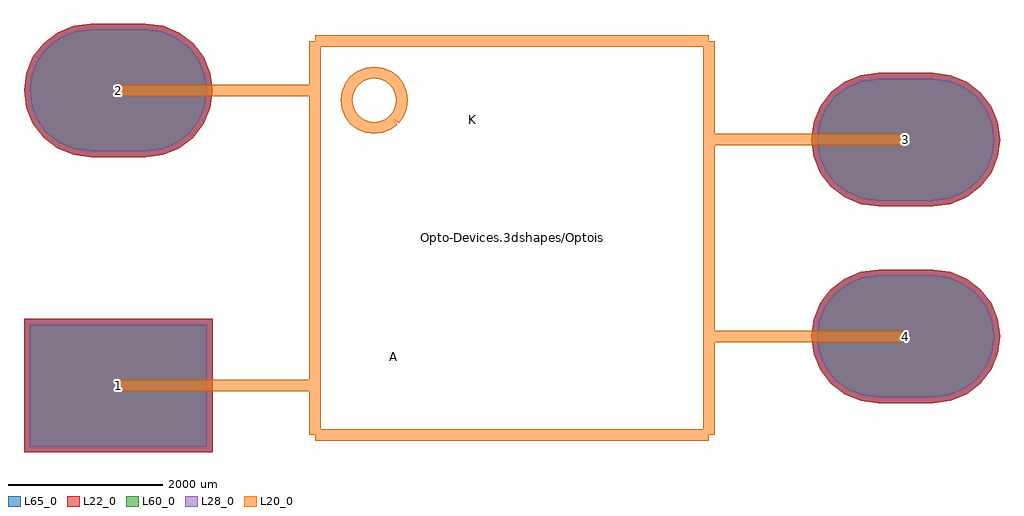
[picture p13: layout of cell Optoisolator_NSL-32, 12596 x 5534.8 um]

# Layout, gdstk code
import gdstk
lib = gdstk.Library(unit=1e-6, precision=1e-09)
def R(c, l, rs):  # rectangles x0, y0, x1, y1
    for r in rs: c.add(gdstk.rectangle(r[:2], r[2:], *l))
def P(c, l, *ps):  # polygons
    for p in ps: c.add(gdstk.Polygon(p, *l))
L20_0 = (20, 0)
L22_0 = (22, 0)
L28_0 = (28, 0)
L60_0 = (60, 0)
L65_0 = (65, 0)

optoisolator_nsl_32 = lib.new_cell('Optoisolator_NSL-32')
R(optoisolator_nsl_32, L22_0, [(-6298,-2767.4,-3862,-1042.6)])
P(optoisolator_nsl_32, L22_0, [(4724.4,-2132.4),(5435.6,-2132.4),(5658.806,-2103.014),(5866.8,-2016.86),(6045.409,-1879.809),(6182.46,-1701.2),(6268.614,-1493.206),(6298,-1270),(6268.614,-1046.794),(6182.46,-838.8),(6045.409,-660.191),(5866.8,-523.14),(5658.806,-436.986),(5435.6,-407.6),(4724.4,-407.6),(4501.194,-436.986),(4293.2,-523.14),(4114.591,-660.191),(3977.54,-838.8),(3891.386,-1046.794),(3862,-1270),(3891.386,-1493.206),(3977.54,-1701.2),(4114.591,-1879.809),(4293.2,-2016.86),(4501.194,-2103.014)],
  [(4724.4,407.6),(5435.6,407.6),(5658.806,436.986),(5866.8,523.14),(6045.409,660.191),(6182.46,838.8),(6268.614,1046.794),(6298,1270),(6268.614,1493.206),(6182.46,1701.2),(6045.409,1879.809),(5866.8,2016.86),(5658.806,2103.014),(5435.6,2132.4),(4724.4,2132.4),(4501.194,2103.014),(4293.2,2016.86),(4114.591,1879.809),(3977.54,1701.2),(3891.386,1493.206),(3862,1270),(3891.386,1046.794),(3977.54,838.8),(4114.591,660.191),(4293.2,523.14),(4501.194,436.986)],
  [(-5435.6,1042.6),(-4724.4,1042.6),(-4501.194,1071.986),(-4293.2,1158.14),(-4114.591,1295.191),(-3977.54,1473.8),(-3891.386,1681.794),(-3862,1905),(-3891.386,2128.206),(-3977.54,2336.2),(-4114.591,2514.809),(-4293.2,2651.86),(-4501.194,2738.014),(-4724.4,2767.4),(-5435.6,2767.4),(-5658.806,2738.014),(-5866.8,2651.86),(-6045.409,2514.809),(-6182.46,2336.2),(-6268.614,2128.206),(-6298,1905),(-6268.614,1681.794),(-6182.46,1473.8),(-6045.409,1295.191),(-5866.8,1158.14),(-5658.806,1071.986)])
R(optoisolator_nsl_32, L28_0, [(-6223,-2692.4,-3937,-1117.6)])
P(optoisolator_nsl_32, L28_0, [(4724.4,-2057.4),(5435.6,-2057.4),(5639.394,-2030.57),(5829.3,-1951.908),(5992.376,-1826.776),(6117.508,-1663.7),(6196.17,-1473.794),(6223,-1270),(6196.17,-1066.206),(6117.508,-876.3),(5992.376,-713.224),(5829.3,-588.092),(5639.394,-509.43),(5435.6,-482.6),(4724.4,-482.6),(4520.606,-509.43),(4330.7,-588.092),(4167.624,-713.224),(4042.492,-876.3),(3963.83,-1066.206),(3937,-1270),(3963.83,-1473.794),(4042.492,-1663.7),(4167.624,-1826.776),(4330.7,-1951.908),(4520.606,-2030.57)],
  [(4724.4,482.6),(5435.6,482.6),(5639.394,509.43),(5829.3,588.092),(5992.376,713.224),(6117.508,876.3),(6196.17,1066.206),(6223,1270),(6196.17,1473.794),(6117.508,1663.7),(5992.376,1826.776),(5829.3,1951.908),(5639.394,2030.57),(5435.6,2057.4),(4724.4,2057.4),(4520.606,2030.57),(4330.7,1951.908),(4167.624,1826.776),(4042.492,1663.7),(3963.83,1473.794),(3937,1270),(3963.83,1066.206),(4042.492,876.3),(4167.624,713.224),(4330.7,588.092),(4520.606,509.43)],
  [(-5435.6,1117.6),(-4724.4,1117.6),(-4520.606,1144.43),(-4330.7,1223.092),(-4167.624,1348.224),(-4042.492,1511.3),(-3963.83,1701.206),(-3937,1905),(-3963.83,2108.794),(-4042.492,2298.7),(-4167.624,2461.776),(-4330.7,2586.908),(-4520.606,2665.57),(-4724.4,2692.4),(-5435.6,2692.4),(-5639.394,2665.57),(-5829.3,2586.908),(-5992.376,2461.776),(-6117.508,2298.7),(-6196.17,2108.794),(-6223,1905),(-6196.17,1701.206),(-6117.508,1511.3),(-5992.376,1348.224),(-5829.3,1223.092),(-5639.394,1144.43)])
R(optoisolator_nsl_32, L60_0, [(-6223,-2692.4,-3937,-1117.6)])
P(optoisolator_nsl_32, L60_0, [(4724.4,-2057.4),(5435.6,-2057.4),(5639.394,-2030.57),(5829.3,-1951.908),(5992.376,-1826.776),(6117.508,-1663.7),(6196.17,-1473.794),(6223,-1270),(6196.17,-1066.206),(6117.508,-876.3),(5992.376,-713.224),(5829.3,-588.092),(5639.394,-509.43),(5435.6,-482.6),(4724.4,-482.6),(4520.606,-509.43),(4330.7,-588.092),(4167.624,-713.224),(4042.492,-876.3),(3963.83,-1066.206),(3937,-1270),(3963.83,-1473.794),(4042.492,-1663.7),(4167.624,-1826.776),(4330.7,-1951.908),(4520.606,-2030.57)],
  [(4724.4,482.6),(5435.6,482.6),(5639.394,509.43),(5829.3,588.092),(5992.376,713.224),(6117.508,876.3),(6196.17,1066.206),(6223,1270),(6196.17,1473.794),(6117.508,1663.7),(5992.376,1826.776),(5829.3,1951.908),(5639.394,2030.57),(5435.6,2057.4),(4724.4,2057.4),(4520.606,2030.57),(4330.7,1951.908),(4167.624,1826.776),(4042.492,1663.7),(3963.83,1473.794),(3937,1270),(3963.83,1066.206),(4042.492,876.3),(4167.624,713.224),(4330.7,588.092),(4520.606,509.43)],
  [(-5435.6,1117.6),(-4724.4,1117.6),(-4520.606,1144.43),(-4330.7,1223.092),(-4167.624,1348.224),(-4042.492,1511.3),(-3963.83,1701.206),(-3937,1905),(-3963.83,2108.794),(-4042.492,2298.7),(-4167.624,2461.776),(-4330.7,2586.908),(-4520.606,2665.57),(-4724.4,2692.4),(-5435.6,2692.4),(-5639.394,2665.57),(-5829.3,2586.908),(-5992.376,2461.776),(-6117.508,2298.7),(-6196.17,2108.794),(-6223,1905),(-6196.17,1701.206),(-6117.508,1511.3),(-5992.376,1348.224),(-5829.3,1223.092),(-5639.394,1144.43)])
R(optoisolator_nsl_32, L65_0, [(-6298,-2767.4,-3862,-1042.6)])
P(optoisolator_nsl_32, L65_0, [(4724.4,-2132.4),(5435.6,-2132.4),(5658.806,-2103.014),(5866.8,-2016.86),(6045.409,-1879.809),(6182.46,-1701.2),(6268.614,-1493.206),(6298,-1270),(6268.614,-1046.794),(6182.46,-838.8),(6045.409,-660.191),(5866.8,-523.14),(5658.806,-436.986),(5435.6,-407.6),(4724.4,-407.6),(4501.194,-436.986),(4293.2,-523.14),(4114.591,-660.191),(3977.54,-838.8),(3891.386,-1046.794),(3862,-1270),(3891.386,-1493.206),(3977.54,-1701.2),(4114.591,-1879.809),(4293.2,-2016.86),(4501.194,-2103.014)],
  [(4724.4,407.6),(5435.6,407.6),(5658.806,436.986),(5866.8,523.14),(6045.409,660.191),(6182.46,838.8),(6268.614,1046.794),(6298,1270),(6268.614,1493.206),(6182.46,1701.2),(6045.409,1879.809),(5866.8,2016.86),(5658.806,2103.014),(5435.6,2132.4),(4724.4,2132.4),(4501.194,2103.014),(4293.2,2016.86),(4114.591,1879.809),(3977.54,1701.2),(3891.386,1493.206),(3862,1270),(3891.386,1046.794),(3977.54,838.8),(4114.591,660.191),(4293.2,523.14),(4501.194,436.986)],
  [(-5435.6,1042.6),(-4724.4,1042.6),(-4501.194,1071.986),(-4293.2,1158.14),(-4114.591,1295.191),(-3977.54,1473.8),(-3891.386,1681.794),(-3862,1905),(-3891.386,2128.206),(-3977.54,2336.2),(-4114.591,2514.809),(-4293.2,2651.86),(-4501.194,2738.014),(-4724.4,2767.4),(-5435.6,2767.4),(-5658.806,2738.014),(-5866.8,2651.86),(-6045.409,2514.809),(-6182.46,2336.2),(-6268.614,2128.206),(-6298,1905),(-6268.614,1681.794),(-6182.46,1473.8),(-6045.409,1295.191),(-5866.8,1158.14),(-5658.806,1071.986)])
optoisolator_nsl_32.add(gdstk.FlexPath([(-2540,-2540),(-2540,2540)], 149.998, ends="flush", simple_path=True, layer=20, datatype=0))  # L20_0
optoisolator_nsl_32.add(gdstk.FlexPath([(2540,-2540),(-2540,-2540)], 149.998, ends="flush", simple_path=True, layer=20, datatype=0))  # L20_0
optoisolator_nsl_32.add(gdstk.FlexPath([(2540,2540),(2540,-2540)], 149.998, ends="flush", simple_path=True, layer=20, datatype=0))  # L20_0
optoisolator_nsl_32.add(gdstk.FlexPath([(-2540,2540),(2540,2540)], 149.998, ends="flush", simple_path=True, layer=20, datatype=0))  # L20_0
optoisolator_nsl_32.add(gdstk.FlexPath([(-5080,1905),(-2540,1905)], 149.998, ends="flush", simple_path=True, layer=20, datatype=0))  # L20_0
optoisolator_nsl_32.add(gdstk.FlexPath([(-5080,-1905),(-2540,-1905)], 149.998, ends="flush", simple_path=True, layer=20, datatype=0))  # L20_0
optoisolator_nsl_32.add(gdstk.FlexPath([(2540,1270),(5080,1270)], 149.998, ends="flush", simple_path=True, layer=20, datatype=0))  # L20_0
optoisolator_nsl_32.add(gdstk.FlexPath([(2540,-1270),(5080,-1270)], 149.998, ends="flush", simple_path=True, layer=20, datatype=0))  # L20_0
optoisolator_nsl_32.add(gdstk.FlexPath([(-1524,1524),(-1466.915,1598.395),(-1431.03,1685.03),(-1418.79,1778),(-1431.03,1870.97),(-1466.915,1957.605),(-1524,2032),(-1598.395,2089.085),(-1685.03,2124.97),(-1778,2137.21),(-1870.97,2124.97),(-1957.605,2089.085),(-2032,2032),(-2089.085,1957.605),(-2124.97,1870.97),(-2137.21,1778),(-2124.97,1685.03),(-2089.085,1598.395),(-2032,1524),(-1957.605,1466.915),(-1870.97,1431.03),(-1778,1418.79),(-1685.03,1431.03),(-1598.395,1466.915),(-1524,1524)], 149.998, ends="flush", simple_path=True, layer=20, datatype=0))  # L20_0
optoisolator_nsl_32.add(gdstk.Label('Opto-Devices.3dshapes/Optoisolator_NSL-32.wrl', (0,0), layer=12, texttype=0))
optoisolator_nsl_32.add(gdstk.Label('4', (5080,-1270), layer=28, texttype=0))
optoisolator_nsl_32.add(gdstk.Label('3', (5080,1270), layer=28, texttype=0))
optoisolator_nsl_32.add(gdstk.Label('2', (-5080,1905), layer=28, texttype=0))
optoisolator_nsl_32.add(gdstk.Label('1', (-5080,-1905), layer=28, texttype=0))
optoisolator_nsl_32.add(gdstk.Label('K', (-508,1524), layer=9, texttype=0))
optoisolator_nsl_32.add(gdstk.Label('A', (-1524,-1524), layer=9, texttype=0))
optoisolator_nsl_32.add(gdstk.Label('type', (0,-3596.64), layer=9, texttype=0))
optoisolator_nsl_32.add(gdstk.Label('devicename', (1524,0), layer=9, texttype=0))

lib.write_gds('Optoisolator_NSL-32.gds')
